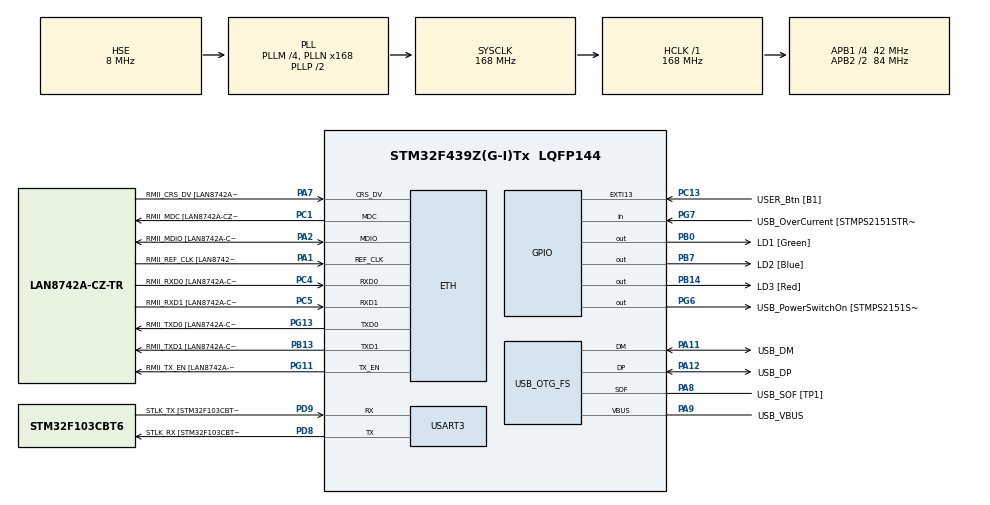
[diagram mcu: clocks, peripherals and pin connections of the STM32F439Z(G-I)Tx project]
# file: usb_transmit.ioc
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ETH.MediaInterface=ETH_MEDIA_INTERFACE_RMII
ETH.PHY_Name=LAN8742A_PHY_ADDRESS
ETH.PHY_Value=0
ETH.PhyAddress=0
Mcu.Family=STM32F4
Mcu.Name=STM32F439Z(G-I)Tx
Mcu.Package=LQFP144
NVIC.OTG_FS_IRQn=true\:0\:0\:false\:false\:true\:false\:true
NVIC.PriorityGroup=NVIC_PRIORITYGROUP_4
PA1.GPIO_Label=RMII_REF_CLK [LAN8742A-CZ-TR_REFCLK0]
PA1.Mode=RMII
PA1.Signal=ETH_REF_CLK
PA10.GPIO_Label=USB_ID
PA10.Signal=USB_OTG_FS_ID
PA11.GPIO_Label=USB_DM
PA11.Mode=Device_Only
PA11.Signal=USB_OTG_FS_DM
PA12.GPIO_Label=USB_DP
PA12.Mode=Device_Only
PA12.Signal=USB_OTG_FS_DP
PA13.GPIO_Label=TMS
PA13.Mode=Serial_Wire
PA13.Signal=SYS_JTMS-SWDIO
PA14.GPIO_Label=TCK
PA14.Mode=Serial_Wire
PA14.Signal=SYS_JTCK-SWCLK
PA2.GPIO_Label=RMII_MDIO [LAN8742A-CZ-TR_MDIO]
PA2.Mode=RMII
PA2.Signal=ETH_MDIO
PA7.GPIO_Label=RMII_CRS_DV [LAN8742A-CZ-TR_CRS_DV]
PA7.Mode=RMII
PA7.Signal=ETH_CRS_DV
PA8.GPIO_Label=USB_SOF [TP1]
PA8.Mode=Activate_SOF_FS
PA8.Signal=USB_OTG_FS_SOF
PA9.GPIO_Label=USB_VBUS
PA9.Mode=Activate_VBUS
PA9.Signal=USB_OTG_FS_VBUS
PB0.GPIO_Label=LD1 [Green]
PB0.Signal=GPIO_Output
PB13.GPIO_Label=RMII_TXD1 [LAN8742A-CZ-TR_TXD1]
PB13.Mode=RMII
PB13.Signal=ETH_TXD1
PB14.GPIO_Label=LD3 [Red]
PB14.Signal=GPIO_Output
PB7.GPIO_Label=LD2 [Blue]
PB7.Signal=GPIO_Output
PC1.GPIO_Label=RMII_MDC [LAN8742A-CZ-TR_MDC]
PC1.Mode=RMII
PC1.Signal=ETH_MDC
PC13.GPIO_Label=USER_Btn [B1]
PC13.Signal=GPXTI13
PC14/OSC32_IN.Signal=RCC_OSC32_IN
PC15/OSC32_OUT.Signal=RCC_OSC32_OUT
PC4.GPIO_Label=RMII_RXD0 [LAN8742A-CZ-TR_RXD0]
PC4.Mode=RMII
PC4.Signal=ETH_RXD0
PC5.GPIO_Label=RMII_RXD1 [LAN8742A-CZ-TR_RXD1]
PC5.Mode=RMII
PC5.Signal=ETH_RXD1
PD8.GPIO_Label=STLK_RX [STM32F103CBT6_PA3]
PD8.Mode=Asynchronous
PD8.Signal=USART3_TX
PD9.GPIO_Label=STLK_TX [STM32F103CBT6_PA2]
PD9.Mode=Asynchronous
PD9.Signal=USART3_RX
PG11.GPIO_Label=RMII_TX_EN [LAN8742A-CZ-TR_TXEN]
PG11.Mode=RMII
PG11.Signal=ETH_TX_EN
PG13.GPIO_Label=RMII_TXD0 [LAN8742A-CZ-TR_TXD0]
PG13.Mode=RMII
PG13.Signal=ETH_TXD0
PG6.GPIO_Label=USB_PowerSwitchOn [STMPS2151STR_EN]
PG6.Signal=GPIO_Output
PG7.GPIO_Label=USB_OverCurrent [STMPS2151STR_FAULT]
PG7.Signal=GPIO_Input
PH0/OSC_IN.GPIO_Label=MCO [STM32F103CBT6_PA8]
PH0/OSC_IN.Mode=HSE-External-Oscillator
PH0/OSC_IN.Signal=RCC_OSC_IN
PH1/OSC_OUT.Mode=HSE-External-Oscillator
PH1/OSC_OUT.Signal=RCC_OSC_OUT
ProjectManager.HeapSize=0x200
ProjectManager.StackSize=0x400
ProjectManager.TargetToolchain=STM32CubeIDE
RCC.48MHZClocksFreq_Value=48000000
RCC.AHBFreq_Value=168000000
RCC.APB1CLKDivider=RCC_HCLK_DIV4
RCC.APB1Freq_Value=42000000
RCC.APB1TimFreq_Value=84000000
RCC.APB2CLKDivider=RCC_HCLK_DIV2
RCC.APB2Freq_Value=84000000
RCC.APB2TimFreq_Value=168000000
RCC.CortexFreq_Value=168000000
RCC.HCLKFreq_Value=168000000
RCC.HSE_VALUE=8000000
RCC.HSI_VALUE=16000000
RCC.PLLM=4
RCC.PLLMUL=RCC_PLL_MUL9
RCC.PLLN=168
RCC.PLLQ=7
RCC.PRESCALERUSB=RCC_USBCLKSOURCE_PLL_DIV1_5
RCC.SYSCLKFreq_VALUE=168000000
RCC.SYSCLKSource=RCC_SYSCLKSOURCE_PLLCLK
RCC.SYSCLKSourceVirtual=RCC_SYSCLKSOURCE_PLLCLK
RCC.USBFreq_Value=48000000
RCC.VCOOutputFreq_Value=336000000
USART3.VirtualMode=VM_ASYNC
USB_DEVICE.APP_RX_DATA_SIZE-CDC_FS=8
USB_DEVICE.APP_TX_DATA_SIZE-CDC_FS=8
USB_DEVICE.CLASS_NAME_FS=CDC
USB_DEVICE.VirtualMode-CDC_FS=Cdc
USB_DEVICE.VirtualModeFS=Cdc_FS
USB_OTG_FS.VirtualMode=Device_Only
VP_USB_DEVICE_VS_USB_DEVICE_CDC_FS.Mode=CDC_FS
board=NUCLEO-F439ZI

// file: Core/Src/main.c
/* USER CODE BEGIN Header */
/**
  ******************************************************************************
  * @file           : main.c
  * @brief          : Main program body
  ******************************************************************************
  * @attention
  *
  * <h2><center>&copy; Copyright (c) 2026 STMicroelectronics.
  * All rights reserved.</center></h2>
  *
  * This software component is licensed by ST under BSD 3-Clause license,
  * the "License"; You may not use this file except in compliance with the
  * License. You may obtain a copy of the License at:
  *                        opensource.org/licenses/BSD-3-Clause
  *
  ******************************************************************************
  */
/* USER CODE END Header */
#include "main.h"
#include "usb_device.h"

/* USER CODE BEGIN Includes */

#include "usbd_core.h"
#include "usbd_desc.h"
#include "usbd_cdc.h"
#include "usbd_cdc_if.h"
#include "usbd_conf.h"
#include "usbd_def.h"
#include "usbd_ctlreq.h"
#include "usbd_ioreq.h"
#include "string.h"

/* USER CODE END Includes */

ETH_HandleTypeDef heth;

UART_HandleTypeDef huart3;

void SystemClock_Config(void);
static void MX_GPIO_Init(void);
static void MX_ETH_Init(void);
static void MX_USART3_UART_Init(void);
/* USER CODE BEGIN PFP */

static void GPIO_Init_USB_Connect(void);

/* USER CODE END PFP */

int main(void)
{
  /* USER CODE BEGIN 1 */
	GPIO_Init_USB_Connect();

  /* USER CODE END 1 */

  /* MCU Configuration--------------------------------------------------------*/

  /* Reset of all peripherals, Initializes the Flash interface and the Systick. */
  HAL_Init();

  /* Configure the system clock */
  SystemClock_Config();

  /* Initialize all configured peripherals */
  MX_GPIO_Init();
  //MX_ETH_Init();
  MX_USART3_UART_Init();
  MX_USB_DEVICE_Init();
  /* USER CODE BEGIN 2 */

	uint8_t i = 0;
	uint8_t clk = 0, new_clk = 0;
	uint8_t buffer[4];
	uint64_t packet = 0;
	uint8_t test[] = "Hello World!\r\n";
	extern USBD_HandleTypeDef hUsbDeviceFS;
	HAL_GPIO_WritePin( GPIOB, GPIO_PIN_9, GPIO_PIN_RESET);

  /* USER CODE END 2 */

  /* Infinite loop */
  /* USER CODE BEGIN WHILE */
  while (1)
  {
	  while (1)
	  {
		  if (CDC_Transmit_FS(test, strlen((char*)test)) == USBD_OK)
		  {
			  // blue
			  HAL_GPIO_TogglePin(GPIOB, GPIO_PIN_7);
			  HAL_Delay(1000);
		  }
		  if (CDC_Transmit_FS(test, strlen((char*)test)) == USBD_BUSY)
		  {
			  // red
			  if (hUsbDeviceFS.dev_state != USBD_STATE_CONFIGURED)
			  {
				  // gern
				  HAL_GPIO_TogglePin(GPIOB, GPIO_PIN_0);
			  }
			  HAL_GPIO_TogglePin(GPIOB, GPIO_PIN_14);
			  HAL_Delay(1000);
		  }
	  }

	  new_clk = HAL_GPIO_ReadPin(GPIOD, GPIO_PIN_4);

	  // sample on rising edge only
	  if (clk == 0 && new_clk == 1)
	  {

		  // read player inputs and add it to packet
		  uint8_t player1_input = HAL_GPIO_ReadPin(GPIOD, GPIO_PIN_5);
		  uint8_t player2_input = HAL_GPIO_ReadPin(GPIOD, GPIO_PIN_6);
		  if (player1_input) packet |= (1ULL << i);
		  if (player2_input) packet |= (1ULL << (i + 14));
		  ++i;

		  // check done signal
		  uint8_t done = HAL_GPIO_ReadPin(GPIOD, GPIO_PIN_7);
		  if (done)
		  {
			  // pack into buffer
			  buffer[0] = packet & 0xFF;
			  buffer[1] = (packet >> 8) & 0xFF;
			  buffer[2] = (packet >> 16) & 0xFF;
			  buffer[3] = (packet >> 24) & 0xFF;

			  // send over USB
			  CDC_Transmit_FS(buffer, 4);

			  // reset packet for next round
			  i = 0;
			  packet = 0;
		  }
	  }

	  clk = new_clk;

    /* USER CODE END WHILE */

  }
}

void SystemClock_Config(void)
{
  RCC_OscInitTypeDef RCC_OscInitStruct = {0};
  RCC_ClkInitTypeDef RCC_ClkInitStruct = {0};

  /** Configure the main internal regulator output voltage
  */
  __HAL_RCC_PWR_CLK_ENABLE();
  __HAL_PWR_VOLTAGESCALING_CONFIG(PWR_REGULATOR_VOLTAGE_SCALE1);
  /** Initializes the RCC Oscillators according to the specified parameters
  * in the RCC_OscInitTypeDef structure.
  */
  RCC_OscInitStruct.OscillatorType = RCC_OSCILLATORTYPE_HSE;
  RCC_OscInitStruct.HSEState = RCC_HSE_ON;
  RCC_OscInitStruct.PLL.PLLState = RCC_PLL_ON;
  RCC_OscInitStruct.PLL.PLLSource = RCC_PLLSOURCE_HSE;
  RCC_OscInitStruct.PLL.PLLM = 4;
  RCC_OscInitStruct.PLL.PLLN = 168;
  RCC_OscInitStruct.PLL.PLLP = RCC_PLLP_DIV2;
  RCC_OscInitStruct.PLL.PLLQ = 7;
  if (HAL_RCC_OscConfig(&RCC_OscInitStruct) != HAL_OK)
  {
    Error_Handler();
  }
  /** Initializes the CPU, AHB and APB buses clocks
  */
  RCC_ClkInitStruct.ClockType = RCC_CLOCKTYPE_HCLK|RCC_CLOCKTYPE_SYSCLK
                              |RCC_CLOCKTYPE_PCLK1|RCC_CLOCKTYPE_PCLK2;
  RCC_ClkInitStruct.SYSCLKSource = RCC_SYSCLKSOURCE_PLLCLK;
  RCC_ClkInitStruct.AHBCLKDivider = RCC_SYSCLK_DIV1;
  RCC_ClkInitStruct.APB1CLKDivider = RCC_HCLK_DIV4;
  RCC_ClkInitStruct.APB2CLKDivider = RCC_HCLK_DIV2;

  if (HAL_RCC_ClockConfig(&RCC_ClkInitStruct, FLASH_LATENCY_5) != HAL_OK)
  {
    Error_Handler();
  }
}

static void MX_ETH_Init(void)
{

  heth.Instance = ETH;
  heth.Init.AutoNegotiation = ETH_AUTONEGOTIATION_ENABLE;
  heth.Init.Speed = ETH_SPEED_100M;
  heth.Init.DuplexMode = ETH_MODE_FULLDUPLEX;
  heth.Init.PhyAddress = LAN8742A_PHY_ADDRESS;
  heth.Init.MACAddr[0] =   0x00;
  heth.Init.MACAddr[1] =   0x80;
  heth.Init.MACAddr[2] =   0xE1;
  heth.Init.MACAddr[3] =   0x00;
  heth.Init.MACAddr[4] =   0x00;
  heth.Init.MACAddr[5] =   0x00;
  heth.Init.RxMode = ETH_RXPOLLING_MODE;
  heth.Init.ChecksumMode = ETH_CHECKSUM_BY_HARDWARE;
  heth.Init.MediaInterface = ETH_MEDIA_INTERFACE_RMII;

  if (HAL_ETH_Init(&heth) != HAL_OK)
  {
    Error_Handler();
  }

}

static void MX_USART3_UART_Init(void)
{

  huart3.Instance = USART3;
  huart3.Init.BaudRate = 115200;
  huart3.Init.WordLength = UART_WORDLENGTH_8B;
  huart3.Init.StopBits = UART_STOPBITS_1;
  huart3.Init.Parity = UART_PARITY_NONE;
  huart3.Init.Mode = UART_MODE_TX_RX;
  huart3.Init.HwFlowCtl = UART_HWCONTROL_NONE;
  huart3.Init.OverSampling = UART_OVERSAMPLING_16;
  if (HAL_UART_Init(&huart3) != HAL_OK)
  {
    Error_Handler();
  }

}

static void MX_GPIO_Init(void)
{
  GPIO_InitTypeDef GPIO_InitStruct = {0};

  /* GPIO Ports Clock Enable */
  __HAL_RCC_GPIOC_CLK_ENABLE();
  __HAL_RCC_GPIOH_CLK_ENABLE();
  __HAL_RCC_GPIOA_CLK_ENABLE();
  __HAL_RCC_GPIOB_CLK_ENABLE();
  __HAL_RCC_GPIOD_CLK_ENABLE();
  __HAL_RCC_GPIOG_CLK_ENABLE();

  /*Configure GPIO pin Output Level */
  HAL_GPIO_WritePin(GPIOB, LD1_Pin|LD3_Pin|LD2_Pin, GPIO_PIN_RESET);

  /*Configure GPIO pin Output Level */
  HAL_GPIO_WritePin(USB_PowerSwitchOn_GPIO_Port, USB_PowerSwitchOn_Pin, GPIO_PIN_RESET);

  /*Configure GPIO pin : USER_Btn_Pin */
  GPIO_InitStruct.Pin = USER_Btn_Pin;
  GPIO_InitStruct.Mode = GPIO_MODE_IT_RISING;
  GPIO_InitStruct.Pull = GPIO_NOPULL;
  HAL_GPIO_Init(USER_Btn_GPIO_Port, &GPIO_InitStruct);

  /*Configure GPIO pins : LD1_Pin LD3_Pin LD2_Pin */
  GPIO_InitStruct.Pin = LD1_Pin|LD3_Pin|LD2_Pin;
  GPIO_InitStruct.Mode = GPIO_MODE_OUTPUT_PP;
  GPIO_InitStruct.Pull = GPIO_NOPULL;
  GPIO_InitStruct.Speed = GPIO_SPEED_FREQ_LOW;
  HAL_GPIO_Init(GPIOB, &GPIO_InitStruct);

  /*Configure GPIO pin : USB_PowerSwitchOn_Pin */
  GPIO_InitStruct.Pin = USB_PowerSwitchOn_Pin;
  GPIO_InitStruct.Mode = GPIO_MODE_OUTPUT_PP;
  GPIO_InitStruct.Pull = GPIO_NOPULL;
  GPIO_InitStruct.Speed = GPIO_SPEED_FREQ_LOW;
  HAL_GPIO_Init(USB_PowerSwitchOn_GPIO_Port, &GPIO_InitStruct);

  /*Configure GPIO pin : USB_OverCurrent_Pin */
  GPIO_InitStruct.Pin = USB_OverCurrent_Pin;
  GPIO_InitStruct.Mode = GPIO_MODE_INPUT;
  GPIO_InitStruct.Pull = GPIO_NOPULL;
  HAL_GPIO_Init(USB_OverCurrent_GPIO_Port, &GPIO_InitStruct);

}

/* USER CODE BEGIN 4 */

static void GPIO_Init_USB_Connect(void)
{
  GPIO_InitTypeDef GPIO_InitStruct = {0};

  /*Configure GPIO pin Output Level */
  HAL_GPIO_WritePin(GPIOB, GPIO_PIN_9, GPIO_PIN_RESET);

  /*Configure GPIO pin : GPIO_PIN_9 */
  GPIO_InitStruct.Pin = GPIO_PIN_9;
  GPIO_InitStruct.Mode = GPIO_MODE_OUTPUT_PP;
  GPIO_InitStruct.Pull = GPIO_NOPULL;
  GPIO_InitStruct.Speed = GPIO_SPEED_FREQ_LOW;
  HAL_GPIO_Init(GPIOB, &GPIO_InitStruct);
}

/* USER CODE END 4 */

void Error_Handler(void)
{
  __disable_irq();
  while (1)
  {
  }
}

/************************ (C) COPYRIGHT STMicroelectronics *****END OF FILE****/
